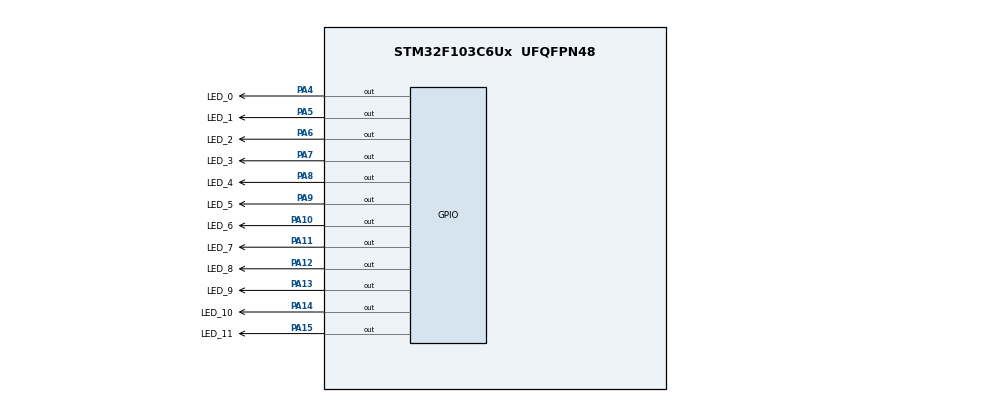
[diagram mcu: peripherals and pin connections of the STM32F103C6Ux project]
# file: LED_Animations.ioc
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Mcu.Family=STM32F1
Mcu.Name=STM32F103C6Ux
Mcu.Package=UFQFPN48
NVIC.PriorityGroup=NVIC_PRIORITYGROUP_4
PA10.GPIO_Label=LED_6
PA10.Signal=GPIO_Output
PA11.GPIO_Label=LED_7
PA11.Signal=GPIO_Output
PA12.GPIO_Label=LED_8
PA12.Signal=GPIO_Output
PA13.GPIO_Label=LED_9
PA13.Signal=GPIO_Output
PA14.GPIO_Label=LED_10
PA14.Signal=GPIO_Output
PA15.GPIO_Label=LED_11
PA15.Signal=GPIO_Output
PA4.GPIO_Label=LED_0
PA4.Signal=GPIO_Output
PA5.GPIO_Label=LED_1
PA5.Signal=GPIO_Output
PA6.GPIO_Label=LED_2
PA6.Signal=GPIO_Output
PA7.GPIO_Label=LED_3
PA7.Signal=GPIO_Output
PA8.GPIO_Label=LED_4
PA8.Signal=GPIO_Output
PA9.GPIO_Label=LED_5
PA9.Signal=GPIO_Output
ProjectManager.HeapSize=0x200
ProjectManager.StackSize=0x400
ProjectManager.TargetToolchain=STM32CubeIDE
RCC.APB1Freq_Value=8000000
RCC.APB2Freq_Value=8000000
board=custom

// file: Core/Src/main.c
/* USER CODE BEGIN Header */
/**
  ******************************************************************************
  * @file           : main.c
  * @brief          : Main program body
  ******************************************************************************
  * @attention
  *
  * Copyright (c) 2023 STMicroelectronics.
  * All rights reserved.
  *
  * This software is licensed under terms that can be found in the LICENSE file
  * in the root directory of this software component.
  * If no LICENSE file comes with this software, it is provided AS-IS.
  *
  ******************************************************************************
  */
/* USER CODE END Header */
#include "main.h"

/* USER CODE BEGIN Includes */
#include "software_timer.h"
#include "clock_function.h"
/* USER CODE END Includes */

/* USER CODE BEGIN PTD */
#define TEST_DURATION 1
#define SECOND_DURATION 1 * 5
#define MINUTE_DURATION 60 * 5
#define HOUR_DURATION 3600 * 1
/* USER CODE END PTD */

void SystemClock_Config(void);
static void MX_GPIO_Init(void);

int main(void)
{

  /* MCU Configuration--------------------------------------------------------*/

  /* Reset of all peripherals, Initializes the Flash interface and the Systick. */
  HAL_Init();

  /* Configure the system clock */
  SystemClock_Config();

  /* Initialize all configured peripherals */
  MX_GPIO_Init();

  /* Infinite loop */
  /* USER CODE BEGIN WHILE */
  setTimer0(SECOND_DURATION);
  setTimer1(MINUTE_DURATION);
  setTimer2(HOUR_DURATION);
  int currentSecond = 0;
  int currentMinute = 0;
  int currentHour = 0;
  while (1)
  {
	  clearAllClock();
	  setNumberOnClock(currentSecond);
	  setNumberOnClock(currentMinute);
	  setNumberOnClock(currentHour);
	  if (timer0_flag == 1) {
		  currentSecond = (currentSecond + 1) % LED_NUMBER;
		  setTimer0(SECOND_DURATION);
	  }
	  if (timer1_flag == 1) {
		  currentMinute = (currentMinute + 1) % LED_NUMBER;
		  setTimer1(MINUTE_DURATION);
	  }
	  if (timer2_flag == 1) {
		  currentHour = (currentHour + 1) % LED_NUMBER;
		  setTimer2(HOUR_DURATION);
	  }
	  runTimer();
	  HAL_Delay(1000);
    /* USER CODE END WHILE */

  }
}

void SystemClock_Config(void)
{
  RCC_OscInitTypeDef RCC_OscInitStruct = {0};
  RCC_ClkInitTypeDef RCC_ClkInitStruct = {0};

  /** Initializes the RCC Oscillators according to the specified parameters
  * in the RCC_OscInitTypeDef structure.
  */
  RCC_OscInitStruct.OscillatorType = RCC_OSCILLATORTYPE_HSI;
  RCC_OscInitStruct.HSIState = RCC_HSI_ON;
  RCC_OscInitStruct.HSICalibrationValue = RCC_HSICALIBRATION_DEFAULT;
  RCC_OscInitStruct.PLL.PLLState = RCC_PLL_NONE;
  if (HAL_RCC_OscConfig(&RCC_OscInitStruct) != HAL_OK)
  {
    Error_Handler();
  }

  /** Initializes the CPU, AHB and APB buses clocks
  */
  RCC_ClkInitStruct.ClockType = RCC_CLOCKTYPE_HCLK|RCC_CLOCKTYPE_SYSCLK
                              |RCC_CLOCKTYPE_PCLK1|RCC_CLOCKTYPE_PCLK2;
  RCC_ClkInitStruct.SYSCLKSource = RCC_SYSCLKSOURCE_HSI;
  RCC_ClkInitStruct.AHBCLKDivider = RCC_SYSCLK_DIV1;
  RCC_ClkInitStruct.APB1CLKDivider = RCC_HCLK_DIV1;
  RCC_ClkInitStruct.APB2CLKDivider = RCC_HCLK_DIV1;

  if (HAL_RCC_ClockConfig(&RCC_ClkInitStruct, FLASH_LATENCY_0) != HAL_OK)
  {
    Error_Handler();
  }
}

static void MX_GPIO_Init(void)
{
  GPIO_InitTypeDef GPIO_InitStruct = {0};

  /* GPIO Ports Clock Enable */
  __HAL_RCC_GPIOA_CLK_ENABLE();

  /*Configure GPIO pin Output Level */
  HAL_GPIO_WritePin(GPIOA, LED_0_Pin|LED_1_Pin|LED_2_Pin|LED_3_Pin
                          |LED_4_Pin|LED_5_Pin|LED_6_Pin|LED_7_Pin
                          |LED_8_Pin|LED_9_Pin|LED_10_Pin|LED_11_Pin, GPIO_PIN_RESET);

  /*Configure GPIO pins : LED_0_Pin LED_1_Pin LED_2_Pin LED_3_Pin
                           LED_4_Pin LED_5_Pin LED_6_Pin LED_7_Pin
                           LED_8_Pin LED_9_Pin LED_10_Pin LED_11_Pin */
  GPIO_InitStruct.Pin = LED_0_Pin|LED_1_Pin|LED_2_Pin|LED_3_Pin
                          |LED_4_Pin|LED_5_Pin|LED_6_Pin|LED_7_Pin
                          |LED_8_Pin|LED_9_Pin|LED_10_Pin|LED_11_Pin;
  GPIO_InitStruct.Mode = GPIO_MODE_OUTPUT_PP;
  GPIO_InitStruct.Pull = GPIO_NOPULL;
  GPIO_InitStruct.Speed = GPIO_SPEED_FREQ_LOW;
  HAL_GPIO_Init(GPIOA, &GPIO_InitStruct);

}

void Error_Handler(void)
{
  __disable_irq();
  while (1)
  {
  }
}
